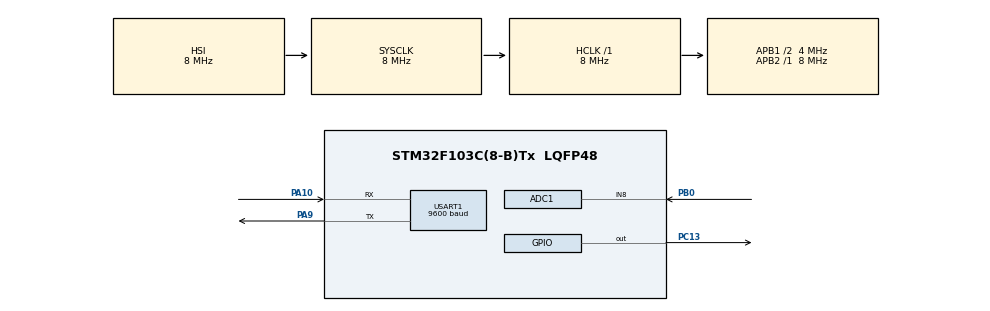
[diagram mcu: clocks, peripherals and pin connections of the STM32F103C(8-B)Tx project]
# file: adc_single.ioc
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ADC1.Channel-16\#ChannelRegularConversion=ADC_CHANNEL_8
ADC1.ContinuousConvMode=ENABLE
ADC1.EnableInjectedConversion=DISABLE
ADC1.EnableRegularConversion=ENABLE
ADC1.InjNumberOfConversion=0
ADC1.NbrOfConversion=1
ADC1.NbrOfConversionFlag=1
ADC1.Rank-16\#ChannelRegularConversion=1
ADC1.SamplingTime-16\#ChannelRegularConversion=ADC_SAMPLETIME_1CYCLE_5
ADC1.master=1
Mcu.Family=STM32F1
Mcu.Name=STM32F103C(8-B)Tx
Mcu.Package=LQFP48
NVIC.PriorityGroup=NVIC_PRIORITYGROUP_4
PA10.Mode=Asynchronous
PA10.Signal=USART1_RX
PA9.Mode=Asynchronous
PA9.Signal=USART1_TX
PB0.Signal=ADCx_IN8
PC13-TAMPER-RTC.Signal=GPIO_Output
ProjectManager.HeapSize=0x200
ProjectManager.StackSize=0x400
ProjectManager.TargetToolchain=STM32CubeIDE
RCC.ADCPresc=RCC_ADCPCLK2_DIV8
RCC.AHBFreq_Value=8000000
RCC.APB1CLKDivider=RCC_HCLK_DIV2
RCC.APB1Freq_Value=4000000
RCC.APB1TimFreq_Value=8000000
RCC.APB2Freq_Value=8000000
RCC.APB2TimFreq_Value=8000000
RCC.HCLKFreq_Value=8000000
RCC.PLLMUL=RCC_PLL_MUL9
RCC.SYSCLKFreq_VALUE=8000000
RCC.USBFreq_Value=36000000
SH.ADCx_IN8.0=ADC1_IN8,IN8
USART1.BaudRate=9600
USART1.VirtualMode=VM_ASYNC
VP_ADC1_TempSens_Input.Mode=IN-TempSens
board=custom

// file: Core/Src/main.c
/* USER CODE BEGIN Header */
/**
  ******************************************************************************
  * @file           : main.c
  * @brief          : Main program body
  ******************************************************************************
  * @attention
  *
  * Copyright (c) 2023 STMicroelectronics.
  * All rights reserved.
  *
  * This software is licensed under terms that can be found in the LICENSE file
  * in the root directory of this software component.
  * If no LICENSE file comes with this software, it is provided AS-IS.
  *
  ******************************************************************************
  */
/* USER CODE END Header */
#include "main.h"

/* USER CODE BEGIN PM */
#define Avg_Slope .0025
#define V25 0.76
/* USER CODE END PM */

ADC_HandleTypeDef hadc1;

UART_HandleTypeDef huart1;

/* USER CODE BEGIN PV */
uint16_t readValue;
float tCelsius;
float tFahrenheit;
/* USER CODE END PV */

void SystemClock_Config(void);
static void MX_GPIO_Init(void);
static void MX_USART1_UART_Init(void);
static void MX_ADC1_Init(void);

int main(void)
{
  /* USER CODE BEGIN 1 */
   int ADC_VAL[3];
   int Temp =0;
   uint8_t message[35] = {'\0'};
   uint8_t num = 0;
  /* USER CODE END 1 */

  /* MCU Configuration--------------------------------------------------------*/

  /* Reset of all peripherals, Initializes the Flash interface and the Systick. */
  HAL_Init();

  /* Configure the system clock */
  SystemClock_Config();

  /* Initialize all configured peripherals */
  MX_GPIO_Init();
  MX_USART1_UART_Init();
  MX_ADC1_Init();

  /* Infinite loop */
  /* USER CODE BEGIN WHILE */
  while (1)
  {

      ADC_Select_CH8();
	  HAL_ADC_Start(&hadc1);
	  HAL_ADC_PollForConversion(&hadc1, 1000);
	  ADC_VAL[0] = HAL_ADC_GetValue(&hadc1);
	  HAL_ADC_Stop(&hadc1);

	  sprintf(message, "Canal 8  = %d \r\n",(int) ADC_VAL[0]);
      HAL_UART_Transmit(&huart1, message, sizeof(message), 100);

/*	  ADC_Select_CHTemp();
	  HAL_ADC_Start(&hadc1);
	  HAL_ADC_PollForConversion(&hadc1, 1000);
	  ADC_VAL[1] = HAL_ADC_GetValue(&hadc1);
	  HAL_ADC_Stop(&hadc1);

	  Temp = ((3.3*ADC_VAL[0]/4095 - V25)/Avg_Slope)+25;
      sprintf(message, "Temperatura  = %d  ",(int) ADC_VAL[1]);
      HAL_UART_Transmit(&huart1, message, sizeof(message), 100);
*/
      HAL_GPIO_TogglePin(GPIOC, GPIO_PIN_13);

/*	  ADC_Select_CHVREF();
	  HAL_ADC_Start(&hadc1);
	  HAL_ADC_PollForConversion(&hadc1, 1000);
	  ADC_VAL[2] = HAL_ADC_GetValue(&hadc1);
	  HAL_ADC_Stop(&hadc1);
	  sprintf(message, "VREF  = %d\r\n\n",(int) ADC_VAL[2]);
      HAL_UART_Transmit(&huart1, message, sizeof(message), 100);
*/

	  HAL_Delay (1000);

/*
	HAL_ADC_PollForConversion(&hadc1,500);
	readValue = HAL_ADC_GetValue(&hadc1);
	tCelsius = 357.558 - 0.187364 * readValue;
	tFahrenheit = 675.6 - 0.337255 * readValue;

	sprintf(message, "Temperatura  = %d\r\n",(int) tCelsius);
	HAL_UART_Transmit(&huart1, message, sizeof(message), 100);

	HAL_Delay(1000);*/
    /* USER CODE END WHILE */

  }
}

void SystemClock_Config(void)
{
  RCC_OscInitTypeDef RCC_OscInitStruct = {0};
  RCC_ClkInitTypeDef RCC_ClkInitStruct = {0};
  RCC_PeriphCLKInitTypeDef PeriphClkInit = {0};

  /** Initializes the RCC Oscillators according to the specified parameters
  * in the RCC_OscInitTypeDef structure.
  */
  RCC_OscInitStruct.OscillatorType = RCC_OSCILLATORTYPE_HSI;
  RCC_OscInitStruct.HSIState = RCC_HSI_ON;
  RCC_OscInitStruct.HSICalibrationValue = RCC_HSICALIBRATION_DEFAULT;
  RCC_OscInitStruct.PLL.PLLState = RCC_PLL_NONE;
  if (HAL_RCC_OscConfig(&RCC_OscInitStruct) != HAL_OK)
  {
    Error_Handler();
  }

  /** Initializes the CPU, AHB and APB buses clocks
  */
  RCC_ClkInitStruct.ClockType = RCC_CLOCKTYPE_HCLK|RCC_CLOCKTYPE_SYSCLK
                              |RCC_CLOCKTYPE_PCLK1|RCC_CLOCKTYPE_PCLK2;
  RCC_ClkInitStruct.SYSCLKSource = RCC_SYSCLKSOURCE_HSI;
  RCC_ClkInitStruct.AHBCLKDivider = RCC_SYSCLK_DIV1;
  RCC_ClkInitStruct.APB1CLKDivider = RCC_HCLK_DIV2;
  RCC_ClkInitStruct.APB2CLKDivider = RCC_HCLK_DIV1;

  if (HAL_RCC_ClockConfig(&RCC_ClkInitStruct, FLASH_LATENCY_0) != HAL_OK)
  {
    Error_Handler();
  }
  PeriphClkInit.PeriphClockSelection = RCC_PERIPHCLK_ADC;
  PeriphClkInit.AdcClockSelection = RCC_ADCPCLK2_DIV8;
  if (HAL_RCCEx_PeriphCLKConfig(&PeriphClkInit) != HAL_OK)
  {
    Error_Handler();
  }
}

static void MX_ADC1_Init(void)
{

  ADC_ChannelConfTypeDef sConfig = {0};

  /** Common config
  */
  hadc1.Instance = ADC1;
  hadc1.Init.ScanConvMode = ADC_SCAN_DISABLE;
  hadc1.Init.ContinuousConvMode = ENABLE;
  hadc1.Init.DiscontinuousConvMode = DISABLE;
  hadc1.Init.ExternalTrigConv = ADC_SOFTWARE_START;
  hadc1.Init.DataAlign = ADC_DATAALIGN_RIGHT;
  hadc1.Init.NbrOfConversion = 1;
  if (HAL_ADC_Init(&hadc1) != HAL_OK)
  {
    Error_Handler();
  }

  /** Configure Regular Channel
  */
  sConfig.Channel = ADC_CHANNEL_8;
  sConfig.Rank = ADC_REGULAR_RANK_1;
  sConfig.SamplingTime = ADC_SAMPLETIME_1CYCLE_5;
  if (HAL_ADC_ConfigChannel(&hadc1, &sConfig) != HAL_OK)
  {
    Error_Handler();
  }
  /* USER CODE BEGIN ADC1_Init 2 */

  HAL_ADCEx_Calibration_Start(&hadc1);

  /* USER CODE END ADC1_Init 2 */

}

static void MX_USART1_UART_Init(void)
{

  huart1.Instance = USART1;
  huart1.Init.BaudRate = 9600;
  huart1.Init.WordLength = UART_WORDLENGTH_8B;
  huart1.Init.StopBits = UART_STOPBITS_1;
  huart1.Init.Parity = UART_PARITY_NONE;
  huart1.Init.Mode = UART_MODE_TX_RX;
  huart1.Init.HwFlowCtl = UART_HWCONTROL_NONE;
  huart1.Init.OverSampling = UART_OVERSAMPLING_16;
  if (HAL_UART_Init(&huart1) != HAL_OK)
  {
    Error_Handler();
  }

}

static void MX_GPIO_Init(void)
{
  GPIO_InitTypeDef GPIO_InitStruct = {0};

  /* GPIO Ports Clock Enable */
  __HAL_RCC_GPIOC_CLK_ENABLE();
  __HAL_RCC_GPIOB_CLK_ENABLE();
  __HAL_RCC_GPIOA_CLK_ENABLE();

  /*Configure GPIO pin Output Level */
  HAL_GPIO_WritePin(GPIOC, GPIO_PIN_13, GPIO_PIN_RESET);

  /*Configure GPIO pin : PC13 */
  GPIO_InitStruct.Pin = GPIO_PIN_13;
  GPIO_InitStruct.Mode = GPIO_MODE_OUTPUT_PP;
  GPIO_InitStruct.Pull = GPIO_NOPULL;
  GPIO_InitStruct.Speed = GPIO_SPEED_FREQ_LOW;
  HAL_GPIO_Init(GPIOC, &GPIO_InitStruct);

}

/* USER CODE BEGIN 4 */

void ADC_Select_CHVREF (void)
{
	ADC_ChannelConfTypeDef sConfig = {0};
	  /** Configure for the selected ADC regular channel its corresponding rank in the sequencer and its sample time.
	  */
	  sConfig.Channel = ADC_CHANNEL_VREFINT;
	  sConfig.Rank = 1;
	  sConfig.SamplingTime = ADC_SAMPLETIME_239CYCLES_5;
	  if (HAL_ADC_ConfigChannel(&hadc1, &sConfig) != HAL_OK)
	  {
	    Error_Handler();
	  }
}

void ADC_Select_CH8 (void)
{
	ADC_ChannelConfTypeDef sConfig = {0};
	  /** Configure for the selected ADC regular channel its corresponding rank in the sequencer and its sample time.
	  */
	  sConfig.Channel = ADC_CHANNEL_8;
	  sConfig.Rank = 1;
	  sConfig.SamplingTime = ADC_SAMPLETIME_1CYCLE_5;
	  if (HAL_ADC_ConfigChannel(&hadc1, &sConfig) != HAL_OK)
	  {
	    Error_Handler();
	  }
}

int  ADC_Select_CHTemp ()
{
	ADC_ChannelConfTypeDef sConfig = {0};
	  /** Configure for the selected ADC regular channel its corresponding rank in the sequencer and its sample time.
	  */
	  sConfig.Channel = ADC_CHANNEL_TEMPSENSOR;
	  sConfig.Rank = 1;
	  sConfig.SamplingTime = ADC_SAMPLETIME_1CYCLE_5;
	  if (HAL_ADC_ConfigChannel(&hadc1, &sConfig) != HAL_OK)
	  {
	    Error_Handler();
	  }
	  return 0;
}
/* USER CODE END 4 */

void Error_Handler(void)
{
  __disable_irq();
  while (1)
  {
  }
}
